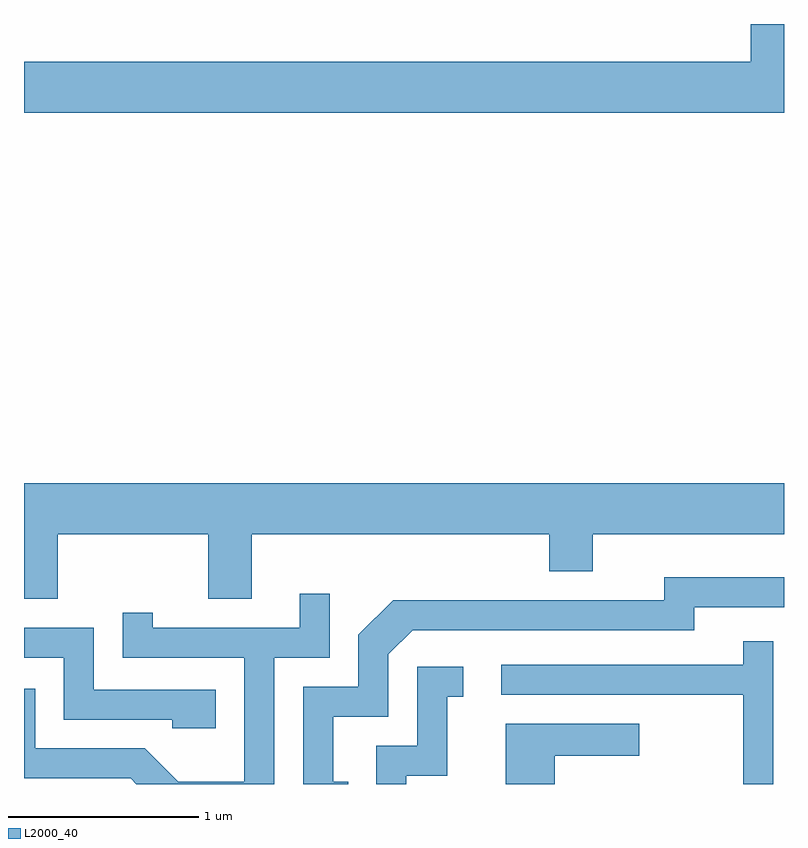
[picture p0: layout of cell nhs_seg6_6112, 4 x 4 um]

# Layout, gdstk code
import gdstk
lib = gdstk.Library(unit=1e-6, precision=1e-09)
def P(c, l, *ps):  # polygons
    for p in ps: c.add(gdstk.Polygon(p, *l))
L2000_40 = (2000, 40)

nhs_seg6_6112 = lib.new_cell('nhs_seg6_6112')
P(nhs_seg6_6112, L2000_40, [(373.611,1668.162),(373.436,1668.162),(373.436,1667.964),(369.611,1667.964),(369.611,1667.696),(373.611,1667.696)],
  [(369.789,1665.476),(370.581,1665.476),(370.581,1665.136),(370.809,1665.136),(370.809,1665.476),(372.376,1665.476),(372.376,1665.281),(372.604,1665.281),(372.604,1665.476),(373.611,1665.476),(373.611,1665.744),(369.611,1665.744),(369.611,1665.136),(369.789,1665.136)],
  [(371.318,1664.174),(371.239,1664.174),(371.239,1664.516),(371.529,1664.516),(371.529,1664.844),(371.657,1664.971),(373.139,1664.971),(373.139,1665.091),(373.611,1665.091),(373.611,1665.249),(372.981,1665.249),(372.981,1665.129),(371.554,1665.129),(371.371,1664.947),(371.371,1664.674),(371.081,1664.674),(371.081,1664.162),(371.318,1664.162)],
  [(370.929,1664.826),(371.219,1664.826),(371.219,1665.163),(371.061,1665.163),(371.061,1664.984),(370.289,1664.984),(370.289,1665.063),(370.131,1665.063),(370.131,1664.826),(370.771,1664.826),(370.771,1664.174),(370.422,1664.174),(370.247,1664.349),(369.669,1664.349),(369.669,1664.664),(369.611,1664.664),(369.611,1664.191),(370.174,1664.191),(370.203,1664.162),(370.929,1664.162)],
  [(370.619,1664.659),(369.979,1664.659),(369.979,1664.984),(369.611,1664.984),(369.611,1664.826),(369.821,1664.826),(369.821,1664.501),(370.391,1664.501),(370.391,1664.456),(370.619,1664.456)],
  [(373.554,1664.913),(373.396,1664.913),(373.396,1664.789),(372.123,1664.789),(372.123,1664.631),(373.396,1664.631),(373.396,1664.162),(373.554,1664.162)],
  [(371.624,1664.206),(371.839,1664.206),(371.839,1664.621),(371.923,1664.621),(371.923,1664.779),(371.681,1664.779),(371.681,1664.364),(371.466,1664.364),(371.466,1664.162),(371.624,1664.162)],
  [(372.404,1664.311),(372.848,1664.311),(372.848,1664.479),(372.146,1664.479),(372.146,1664.162),(372.404,1664.162)])

lib.write_gds('nhs_seg6_6112.gds')
